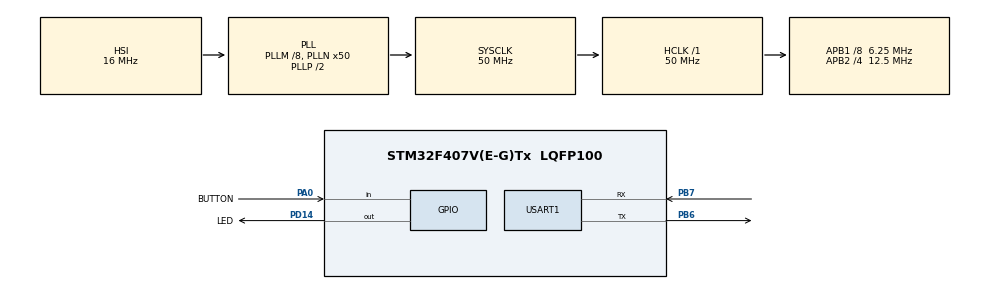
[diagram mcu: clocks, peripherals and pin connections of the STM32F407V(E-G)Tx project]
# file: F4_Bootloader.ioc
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Mcu.Family=STM32F4
Mcu.Name=STM32F407V(E-G)Tx
Mcu.Package=LQFP100
NVIC.PriorityGroup=NVIC_PRIORITYGROUP_0
NVIC.USART1_IRQn=true\:0\:0\:false\:false\:true\:true\:true\:true
PA0-WKUP.GPIO_Label=BUTTON
PA0-WKUP.GPIO_PuPd=GPIO_NOPULL
PA0-WKUP.Signal=GPIO_Input
PA13.Mode=Serial_Wire
PA13.Signal=SYS_JTMS-SWDIO
PA14.Mode=Serial_Wire
PA14.Signal=SYS_JTCK-SWCLK
PB6.Mode=Asynchronous
PB6.Signal=USART1_TX
PB7.Mode=Asynchronous
PB7.Signal=USART1_RX
PD14.GPIO_Label=LED
PD14.Signal=GPIO_Output
ProjectManager.HeapSize=0x200
ProjectManager.StackSize=0x400
ProjectManager.TargetToolchain=STM32CubeIDE
RCC.48MHZClocksFreq_Value=14285714.285714285
RCC.AHBFreq_Value=50000000
RCC.APB1CLKDivider=RCC_HCLK_DIV8
RCC.APB1Freq_Value=6250000
RCC.APB1TimFreq_Value=12500000
RCC.APB2CLKDivider=RCC_HCLK_DIV4
RCC.APB2Freq_Value=12500000
RCC.APB2TimFreq_Value=25000000
RCC.CortexFreq_Value=50000000
RCC.HCLKFreq_Value=50000000
RCC.HSE_VALUE=8000000
RCC.HSI_VALUE=16000000
RCC.LSE_VALUE=32768
RCC.PLLM=8
RCC.PLLN=50
RCC.PLLQ=7
RCC.SYSCLKFreq_VALUE=50000000
RCC.SYSCLKSource=RCC_SYSCLKSOURCE_PLLCLK
RCC.VCOOutputFreq_Value=100000000
USART1.VirtualMode=VM_ASYNC
board=STM32F407G-DISC1

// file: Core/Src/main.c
/* USER CODE BEGIN Header */
/**
  ******************************************************************************
  * @file           : main.c
  * @brief          : Main program body
  ******************************************************************************
  * @attention
  *
  * Copyright (c) 2026 STMicroelectronics.
  * All rights reserved.
  *
  * This software is licensed under terms that can be found in the LICENSE file
  * in the root directory of this software component.
  * If no LICENSE file comes with this software, it is provided AS-IS.
  *
  ******************************************************************************
  */
/* USER CODE END Header */
#include "main.h"

/* USER CODE BEGIN Includes */
#include "stdio.h"
#include "stdint.h"
#include "bootloader.h"
/* USER CODE END Includes */

/* USER CODE BEGIN PD */
#define MESSAGE_SIZE	27

#define APP_START_ADDRESS 	0x08008000UL
#define APP_STACK_POINTER   *(__IO uint32_t*) APP_START_ADDRESS
#define APP_RESET_HANDLER	*(__IO uint32_t*) (APP_START_ADDRESS + 4)

/* USER CODE END PD */

UART_HandleTypeDef huart1;

/* USER CODE BEGIN PV */
uint8_t message_jump[MESSAGE_SIZE] = "Jumping to Application...\n\r";
uint8_t rxChar;
uint8_t bufferIndex;
char messageBuffer[BUFFER_SIZE];
volatile uint8_t jumpFlag = 0;
volatile uint8_t packetReadyFlag = 0;
volatile uint32_t jumpAddress = 0;
uint8_t expectedLen = 0;
uint8_t wrp_rdp_status[4] = {0};

enum
{
	WAIT_HEADER,
	WAIT_LENGTH,
	RECEIVING
}rxState;

/* USER CODE END PV */

void SystemClock_Config(void);
static void MX_GPIO_Init(void);
static void MX_USART1_UART_Init(void);
/* USER CODE BEGIN PFP */
int _write(int file, char *ptr, int len);
void JumpToApplication(void);
/* USER CODE END PFP */

/* USER CODE BEGIN 0 */
int _write(int file, char *ptr, int len)
{
	int i = 0;
	for(i = 0; i < len; i++ )
	{
		ITM_SendChar((*ptr++));
	}
	return len;
}

void JumpToApplication(void)
{
	// deinitilize peripherals
	HAL_GPIO_DeInit(LED_GPIO_Port, LED_Pin);
	HAL_GPIO_DeInit(BUTTON_GPIO_Port, BUTTON_Pin);
	HAL_UART_DeInit(&huart1);
	//HAL_UART_DeInit(&huart2);

	// En kritik satir, bu satir olmadan jump islemi gerceklesemez
	HAL_RCC_DeInit();

	HAL_DeInit();

	// 1 ms de bir tetiklenen systick 0'lanmasa bile jump islemi gerceklesir. Ancak sans eseri jump gerceklesirken tick gelirse
	//o zaman HardFaulta düsersin. (SysTick HAL tarafından kullanılır.)
	SysTick->CTRL = 0;
	SysTick->LOAD = 0;
	SysTick->VAL = 0;

	// jump islemi
    __set_MSP(APP_STACK_POINTER);
    void (*AppResetHandler)(void) ;

    AppResetHandler = (void (*)(void))APP_RESET_HANDLER;
    AppResetHandler();
}

/* USER CODE END 0 */

int main(void)
{

  /* MCU Configuration--------------------------------------------------------*/

  /* Reset of all peripherals, Initializes the Flash interface and the Systick. */
  HAL_Init();

  /* USER CODE BEGIN Init */
  Bootloader_Init(uartTransmit);
  /* USER CODE END Init */

  /* Configure the system clock */
  SystemClock_Config();

  /* Initialize all configured peripherals */
  MX_GPIO_Init();
  MX_USART1_UART_Init();
  /* USER CODE BEGIN 2 */

  __HAL_RCC_PWR_CLK_ENABLE();
  HAL_PWR_EnableBkUpAccess();

  uint8_t stay_in_bootloader = 0;

  if (RTC->BKP1R == MAGIC_WORD_BOOTLOADER)
  {
      RTC->BKP1R = 0x00000000; // Bir dahaki resette döngüye girmemek için hemen sil!
      stay_in_bootloader = 1;  // Güncelleme modunda (Bootloader'da) kal
  }
  else if (HAL_GPIO_ReadPin(BUTTON_GPIO_Port, BUTTON_Pin) == GPIO_PIN_SET)
  {
      stay_in_bootloader = 1;
  }

  if (stay_in_bootloader == 0)
  {
      HAL_UART_Transmit(UART_PORT, message_jump, MESSAGE_SIZE, HAL_MAX_DELAY);
#ifdef PRINT_DEBUG
      printf("%s",message_jump);
#endif
      JumpToApplication();
  }
  uint32_t wrp_status = ~(FLASH->OPTCR >> 16) & 0xFFF; // 1 -> protected, 0 -> unprotected
  uint8_t high_sectors = wrp_status >> 8;
  uint8_t low_sectors = wrp_status & 0xFF;
  uint32_t readout_status = (FLASH->OPTCR >> 8) & 0xFF;

  wrp_rdp_status[0] = 0x79;
  wrp_rdp_status[1] = high_sectors;
  wrp_rdp_status[2] = low_sectors;
  wrp_rdp_status[3] = readout_status;

  HAL_UART_Transmit_IT(&huart1, wrp_rdp_status, 4);

  HAL_UART_Receive_IT(UART_PORT, &rxChar, 1);

  /* USER CODE END 2 */

  /* Infinite loop */
  while (1)
  {

    /* USER CODE BEGIN 3 */
    if(packetReadyFlag)
    {
        packetReadyFlag = 0;
        processBootloaderCommand(messageBuffer);
    }

  }
  /* USER CODE END 3 */
}

void SystemClock_Config(void)
{
  RCC_OscInitTypeDef RCC_OscInitStruct = {0};
  RCC_ClkInitTypeDef RCC_ClkInitStruct = {0};

  /** Configure the main internal regulator output voltage
  */
  __HAL_RCC_PWR_CLK_ENABLE();
  __HAL_PWR_VOLTAGESCALING_CONFIG(PWR_REGULATOR_VOLTAGE_SCALE1);

  /** Initializes the RCC Oscillators according to the specified parameters
  * in the RCC_OscInitTypeDef structure.
  */
  RCC_OscInitStruct.OscillatorType = RCC_OSCILLATORTYPE_HSI;
  RCC_OscInitStruct.HSIState = RCC_HSI_ON;
  RCC_OscInitStruct.HSICalibrationValue = RCC_HSICALIBRATION_DEFAULT;
  RCC_OscInitStruct.PLL.PLLState = RCC_PLL_ON;
  RCC_OscInitStruct.PLL.PLLSource = RCC_PLLSOURCE_HSI;
  RCC_OscInitStruct.PLL.PLLM = 8;
  RCC_OscInitStruct.PLL.PLLN = 50;
  RCC_OscInitStruct.PLL.PLLP = RCC_PLLP_DIV2;
  RCC_OscInitStruct.PLL.PLLQ = 7;
  if (HAL_RCC_OscConfig(&RCC_OscInitStruct) != HAL_OK)
  {
    Error_Handler();
  }

  /** Initializes the CPU, AHB and APB buses clocks
  */
  RCC_ClkInitStruct.ClockType = RCC_CLOCKTYPE_HCLK|RCC_CLOCKTYPE_SYSCLK
                              |RCC_CLOCKTYPE_PCLK1|RCC_CLOCKTYPE_PCLK2;
  RCC_ClkInitStruct.SYSCLKSource = RCC_SYSCLKSOURCE_PLLCLK;
  RCC_ClkInitStruct.AHBCLKDivider = RCC_SYSCLK_DIV1;
  RCC_ClkInitStruct.APB1CLKDivider = RCC_HCLK_DIV8;
  RCC_ClkInitStruct.APB2CLKDivider = RCC_HCLK_DIV4;

  if (HAL_RCC_ClockConfig(&RCC_ClkInitStruct, FLASH_LATENCY_1) != HAL_OK)
  {
    Error_Handler();
  }
}

static void MX_USART1_UART_Init(void)
{

  huart1.Instance = USART1;
  huart1.Init.BaudRate = 115200;
  huart1.Init.WordLength = UART_WORDLENGTH_8B;
  huart1.Init.StopBits = UART_STOPBITS_1;
  huart1.Init.Parity = UART_PARITY_NONE;
  huart1.Init.Mode = UART_MODE_TX_RX;
  huart1.Init.HwFlowCtl = UART_HWCONTROL_NONE;
  huart1.Init.OverSampling = UART_OVERSAMPLING_16;
  if (HAL_UART_Init(&huart1) != HAL_OK)
  {
    Error_Handler();
  }

}

static void MX_GPIO_Init(void)
{
  GPIO_InitTypeDef GPIO_InitStruct = {0};

  /* GPIO Ports Clock Enable */
  __HAL_RCC_GPIOA_CLK_ENABLE();
  __HAL_RCC_GPIOD_CLK_ENABLE();
  __HAL_RCC_GPIOB_CLK_ENABLE();

  /*Configure GPIO pin Output Level */
  HAL_GPIO_WritePin(LED_GPIO_Port, LED_Pin, GPIO_PIN_RESET);

  /*Configure GPIO pin : BUTTON_Pin */
  GPIO_InitStruct.Pin = BUTTON_Pin;
  GPIO_InitStruct.Mode = GPIO_MODE_INPUT;
  GPIO_InitStruct.Pull = GPIO_NOPULL;
  HAL_GPIO_Init(BUTTON_GPIO_Port, &GPIO_InitStruct);

  /*Configure GPIO pin : LED_Pin */
  GPIO_InitStruct.Pin = LED_Pin;
  GPIO_InitStruct.Mode = GPIO_MODE_OUTPUT_PP;
  GPIO_InitStruct.Pull = GPIO_NOPULL;
  GPIO_InitStruct.Speed = GPIO_SPEED_FREQ_LOW;
  HAL_GPIO_Init(LED_GPIO_Port, &GPIO_InitStruct);

}

/* USER CODE BEGIN 4 */
void HAL_UART_RxCpltCallback(UART_HandleTypeDef *huart)
{
	if(huart != UART_PORT)
	{
		return;
	}

	switch (rxState) {
		case WAIT_HEADER:
			if (rxChar == 0x7F)
			{
				messageBuffer[0] = rxChar;
				bufferIndex = 1;
				rxState = WAIT_LENGTH;
			}
			break;
		case WAIT_LENGTH:
			messageBuffer[bufferIndex++] = rxChar;
			expectedLen = rxChar;
			rxState = RECEIVING;
			break;
		case RECEIVING:
			messageBuffer[bufferIndex++] = rxChar;
			expectedLen--;
			if(expectedLen == 0)
			{
		        packetReadyFlag = 1;
		        bufferIndex = 0;
		        rxState = WAIT_HEADER;
			}
			break;
		default:
			break;
	}
	HAL_UART_Receive_IT(huart, &rxChar, 1);
}

int uartTransmit(uint8_t* message, uint32_t size)
{
	HAL_StatusTypeDef status;
	status = HAL_UART_Transmit_IT(UART_PORT, message, size);
	if (status == HAL_OK)
	{
		return 1;
	}
	else{
		return -1;
	}
}

/* USER CODE END 4 */

void Error_Handler(void)
{
  __disable_irq();
  while (1)
  {
  }
}
